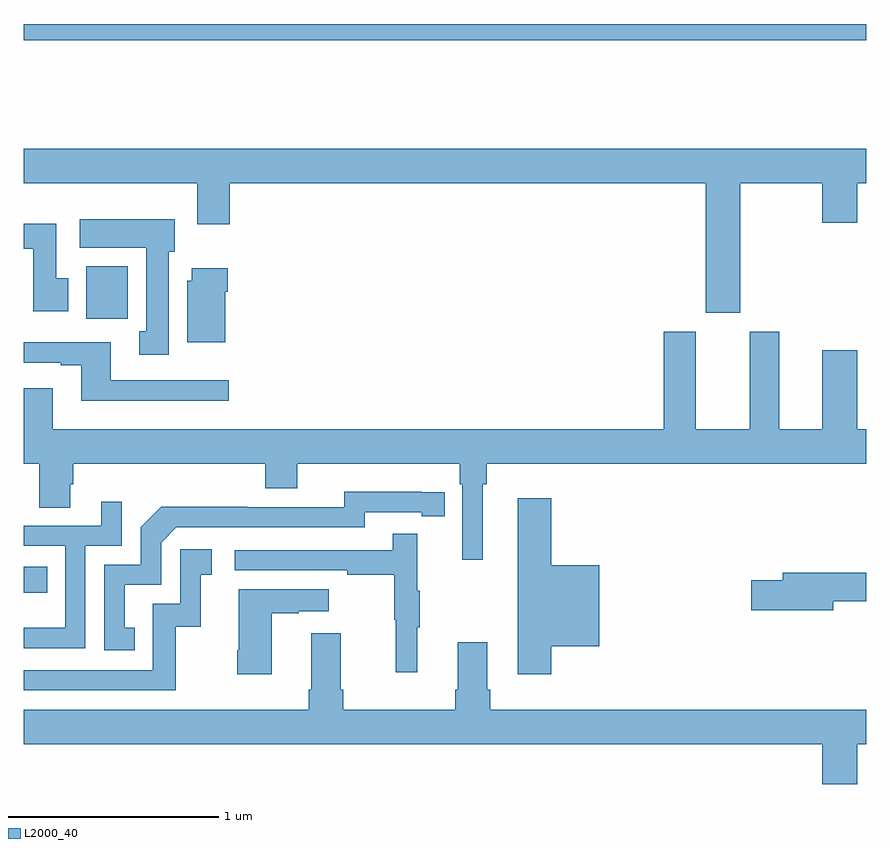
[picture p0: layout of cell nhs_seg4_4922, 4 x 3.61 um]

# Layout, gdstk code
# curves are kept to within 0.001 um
import gdstk
lib = gdstk.Library(unit=1e-6, precision=1e-09)
def R(c, l, rs):  # rectangles x0, y0, x1, y1
    for r in rs: c.add(gdstk.rectangle(r[:2], r[2:], *l))
def P(c, l, *ps):  # polygons
    for p in ps: c.add(gdstk.Polygon(p, *l))
L2000_40 = (2000, 40)

nhs_seg4_4922 = lib.new_cell('nhs_seg4_4922')
R(nhs_seg4_4922, L2000_40, [(377,804.201,377.111,804.324), (377.297,805.5,377.493,805.75), (377,806.824,381,806.9)])
P(nhs_seg4_4922, L2000_40, [(380.401,806.144),(380.792,806.144),(380.792,805.956),(380.956,805.956),(380.956,806.144),(381,806.144),(381,806.308),(377,806.308),(377,806.144),(377.825,806.144),(377.825,805.95),(377.978,805.95),(377.978,806.144),(380.237,806.144),(380.237,805.53),(380.401,805.53)],
  [(377.689,805.818),(377.716,805.818),(377.716,805.972),(377.265,805.972),(377.265,805.838),(377.582,805.838),(377.582,805.441),(377.549,805.441),(377.549,805.329),(377.689,805.329)],
  [(377.212,805.692),(377.155,805.692),(377.155,805.951),(377,805.951),(377,805.832),(377.045,805.832),(377.045,805.536),(377.212,805.536)],
  [(377.956,805.628),(377.969,805.628),(377.969,805.741),(377.798,805.741),(377.798,805.68),(377.777,805.68),(377.777,805.388),(377.956,805.388)],
  [(379.18,804.716),(379.199,804.716),(379.199,804.812),(381,804.812),(381,804.976),(380.956,804.976),(380.956,805.351),(380.792,805.351),(380.792,804.976),(380.587,804.976),(380.587,805.438),(380.447,805.438),(380.447,804.976),(380.191,804.976),(380.191,805.438),(380.039,805.438),(380.039,804.976),(377.137,804.976),(377.137,805.171),(377,805.171),(377,804.812),(377.074,804.812),(377.074,804.604),(377.221,804.604),(377.221,804.714),(377.234,804.714),(377.234,804.812),(378.146,804.812),(378.146,804.695),(378.298,804.695),(378.298,804.812),(379.07,804.812),(379.07,804.716),(379.083,804.716),(379.083,804.357),(379.18,804.357)],
  [(377.974,805.209),(377.413,805.209),(377.413,805.39),(377,805.39),(377,805.293),(377.177,805.293),(377.177,805.281),(377.273,805.281),(377.273,805.112),(377.974,805.112)],
  [(377.528,804.033),(377.479,804.033),(377.479,804.237),(377.652,804.237),(377.652,804.438),(377.724,804.51),(378.618,804.51),(378.618,804.582),(378.89,804.582),(378.89,804.562),(378.998,804.562),(378.998,804.678),(378.522,804.679),(378.522,804.606),(378.062,804.606),(378.062,804.608),(377.654,804.608),(377.556,804.51),(377.556,804.333),(377.382,804.333),(377.382,803.928),(377.528,803.928)],
  [(379.505,803.945),(379.732,803.945),(379.732,804.331),(379.505,804.331),(379.505,804.649),(379.346,804.649),(379.346,803.814),(379.505,803.814)],
  [(377.292,804.423),(377.466,804.423),(377.466,804.631),(377.369,804.631),(377.369,804.519),(377,804.519),(377,804.423),(377.196,804.423),(377.196,804.034),(377,804.034),(377,803.937),(377.292,803.937)],
  [(378.869,804.035),(378.88,804.035),(378.88,804.209),(378.869,804.209),(378.869,804.481),(378.751,804.481),(378.751,804.402),(378.003,804.402),(378.003,804.306),(378.535,804.306),(378.535,804.286),(378.759,804.286),(378.759,804.072),(378.766,804.072),(378.766,803.823),(378.869,803.823)],
  [(377.722,804.039),(377.84,804.039),(377.84,804.285),(377.893,804.285),(377.893,804.406),(377.742,804.406),(377.742,804.147),(377.613,804.147),(377.613,803.832),(377,803.832),(377,803.736),(377.722,803.736)],
  [(380.842,804.16),(381,804.16),(381,804.296),(380.603,804.296),(380.603,804.26),(380.454,804.26),(380.454,804.118),(380.842,804.118)],
  [(378.178,804.103),(378.305,804.103),(378.305,804.113),(378.448,804.113),(378.448,804.217),(378.02,804.217),(378.02,803.926),(378.013,803.926),(378.013,803.814),(378.178,803.814)],
  [(380.956,803.48),(381,803.48),(381,803.644),(379.214,803.644),(379.214,803.74),(379.201,803.74),(379.201,803.965),(379.061,803.965),(379.061,803.74),(379.049,803.74),(379.049,803.644),(378.518,803.644),(378.518,803.74),(378.505,803.74),(378.505,804.007),(378.365,804.007),(378.365,803.74),(378.353,803.74),(378.353,803.644),(377,803.644),(377,803.48),(380.792,803.48),(380.792,803.292),(380.956,803.292)])

lib.write_gds('nhs_seg4_4922.gds')
